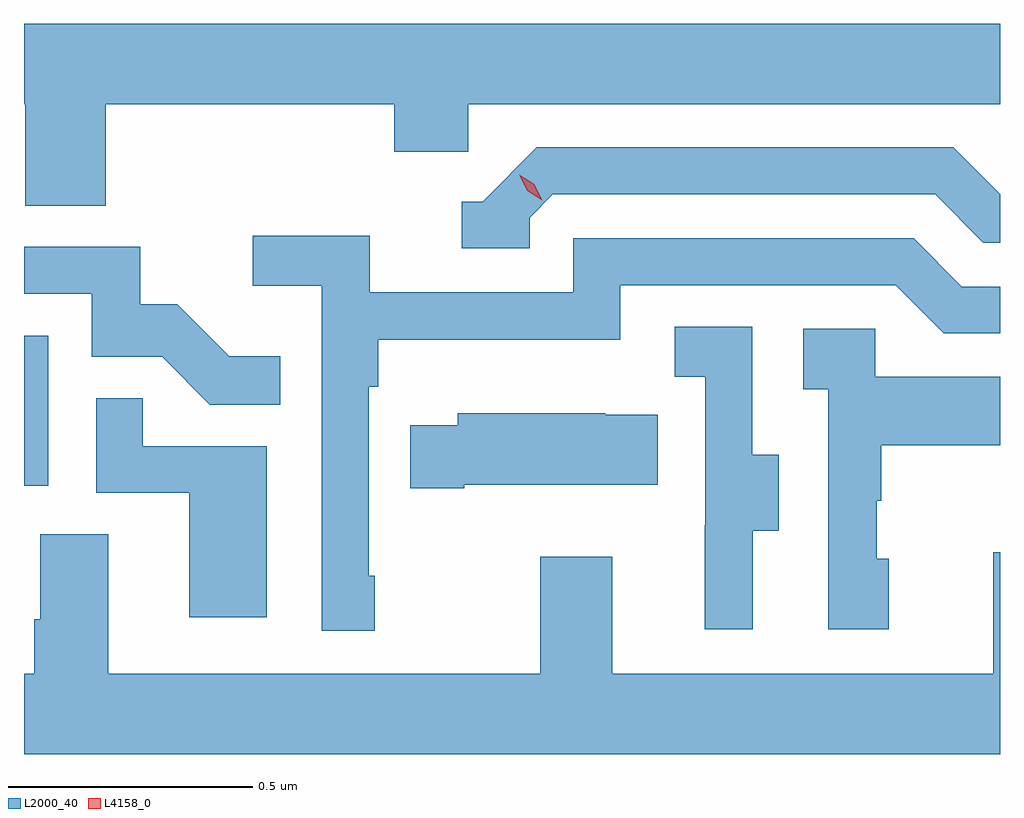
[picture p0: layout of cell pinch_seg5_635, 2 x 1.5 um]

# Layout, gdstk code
import gdstk
lib = gdstk.Library(unit=1e-6, precision=1e-09)
def R(c, l, rs):  # rectangles x0, y0, x1, y1
    for r in rs: c.add(gdstk.rectangle(r[:2], r[2:], *l))
def P(c, l, *ps):  # polygons
    for p in ps: c.add(gdstk.Polygon(p, *l))
L2000_40 = (2000, 40)
L4158_0 = (4158, 0)

pinch_seg5_635 = lib.new_cell('pinch_seg5_635')
R(pinch_seg5_635, L2000_40, [(1023.242,865.302,1023.292,865.609)])
P(pinch_seg5_635, L2000_40, [(1023.41,866.084),(1024.001,866.084),(1024.001,865.986),(1024.152,865.986),(1024.152,866.084),(1025.242,866.084),(1025.242,866.248),(1023.242,866.248),(1023.242,866.084),(1023.245,866.084),(1023.245,865.876),(1023.41,865.876)],
  [(1024.278,865.851),(1024.326,865.899),(1025.109,865.899),(1025.208,865.8),(1025.242,865.8),(1025.242,865.899),(1025.146,865.995),(1024.293,865.995),(1024.182,865.884),(1024.139,865.884),(1024.139,865.788),(1024.278,865.788)],
  [(1023.961,865.117),(1023.948,865.117),(1023.948,865.505),(1023.968,865.505),(1023.968,865.601),(1024.464,865.601),(1024.464,865.713),(1025.028,865.713),(1025.127,865.614),(1025.242,865.614),(1025.242,865.71),(1025.164,865.71),(1025.065,865.809),(1024.368,865.809),(1024.368,865.698),(1023.95,865.698),(1023.95,865.814),(1023.711,865.814),(1023.711,865.712),(1023.852,865.712),(1023.852,865.005),(1023.961,865.005)],
  [(1023.767,865.567),(1023.663,865.567),(1023.556,865.674),(1023.48,865.674),(1023.48,865.791),(1023.242,865.791),(1023.242,865.695),(1023.381,865.695),(1023.381,865.566),(1023.525,865.566),(1023.623,865.468),(1023.767,865.468)],
  [(1024.735,865.21),(1024.789,865.21),(1024.789,865.365),(1024.734,865.365),(1024.734,865.628),(1024.575,865.628),(1024.575,865.525),(1024.638,865.525),(1024.638,865.221),(1024.637,865.221),(1024.637,865.008),(1024.735,865.008)],
  [(1025.014,865.152),(1024.989,865.152),(1024.989,865.271),(1024.999,865.271),(1024.999,865.385),(1025.242,865.385),(1025.242,865.525),(1024.986,865.525),(1024.986,865.623),(1024.839,865.623),(1024.839,865.499),(1024.89,865.499),(1024.89,865.008),(1025.014,865.008)],
  [(1023.739,865.383),(1023.485,865.383),(1023.485,865.481),(1023.39,865.481),(1023.39,865.287),(1023.581,865.287),(1023.581,865.032),(1023.739,865.032)],
  [(1024.144,865.304),(1024.541,865.304),(1024.541,865.447),(1024.433,865.447),(1024.433,865.45),(1024.131,865.45),(1024.131,865.426),(1024.033,865.426),(1024.033,865.297),(1024.144,865.297)],
  [(1025.242,865.165),(1025.228,865.165),(1025.228,864.916),(1024.447,864.916),(1024.447,865.156),(1024.3,865.156),(1024.3,864.916),(1023.415,864.916),(1023.415,865.202),(1023.275,865.202),(1023.275,865.028),(1023.263,865.028),(1023.263,864.916),(1023.242,864.916),(1023.242,864.752),(1025.242,864.752)])
P(pinch_seg5_635, L4158_0, [(1024.304,865.887),(1024.273,865.906),(1024.257,865.939),(1024.257,865.939),(1024.257,865.939),(1024.288,865.92),(1024.304,865.887),(1024.304,865.887)])

lib.write_gds('pinch_seg5_635.gds')
